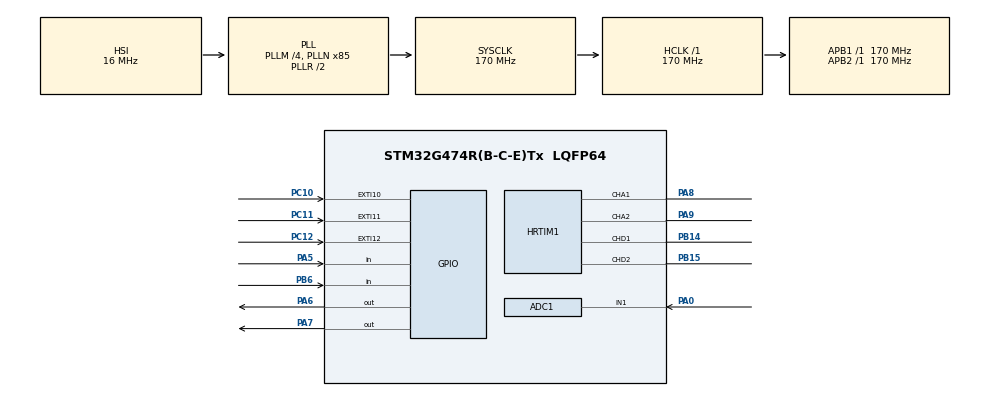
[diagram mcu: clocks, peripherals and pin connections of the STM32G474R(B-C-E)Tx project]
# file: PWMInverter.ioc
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ADC1.Channel-0\#ChannelRegularConversion=ADC_CHANNEL_1
ADC1.NbrOfConversionFlag=1
ADC1.OffsetNumber-0\#ChannelRegularConversion=ADC_OFFSET_NONE
ADC1.Rank-0\#ChannelRegularConversion=1
ADC1.SamplingTime-0\#ChannelRegularConversion=ADC_SAMPLETIME_2CYCLES_5
ADC1.master=1
HRTIM1.CompareUnit1-Output_TA1TA2=HRTIM_COMPAREUNIT_1
HRTIM1.CompareUnit1-Output_TD1TD2=HRTIM_COMPAREUNIT_1
HRTIM1.CompareUnit2-Output_TA1TA2=HRTIM_COMPAREUNIT_2
HRTIM1.CompareUnit2-Output_TD1TD2=HRTIM_COMPAREUNIT_2
HRTIM1.CompareUnit3-Output_TA1TA2=HRTIM_COMPAREUNIT_3
HRTIM1.CompareUnit3-Output_TD1TD2=HRTIM_COMPAREUNIT_3
HRTIM1.CompareUnit4-Output_TA1TA2=__NULL
HRTIM1.CompareValue1-Output_TA1TA2=0x038A-0x0018
HRTIM1.CompareValue1-Output_TD1TD2=0x038a-0x0018
HRTIM1.CompareValue2-Output_TA1TA2=0x038a
HRTIM1.CompareValue2-Output_TD1TD2=0x038a
HRTIM1.CompareValue3-Output_TA1TA2=0x0714-0x0018
HRTIM1.CompareValue3-Output_TD1TD2=0x0715-0x018
HRTIM1.NumberResetSource1-Output_TA1TA2=1
HRTIM1.NumberResetSource1-Output_TD1TD2=1
HRTIM1.NumberResetSource2_TA=1
HRTIM1.NumberResetSource2_TD=1
HRTIM1.NumberResetTrigger-Output_TA1TA2=1
HRTIM1.NumberResetTrigger-Output_TD1TD2=1
HRTIM1.NumberSetSource1-Output_TA1TA2=1
HRTIM1.NumberSetSource1-Output_TD1TD2=1
HRTIM1.NumberSetSource2_TA=1
HRTIM1.NumberSetSource2_TD=1
HRTIM1.NumberUpdateTrigger-Output_TA1TA2=1
HRTIM1.NumberUpdateTrigger-Output_TD1TD2=1
HRTIM1.Periode_MASTER=0x0715
HRTIM1.Periode_TA=0x0715
HRTIM1.Periode_TD=0x0715
HRTIM1.PreloadEnable-Output_TA1TA2=HRTIM_PRELOAD_ENABLED
HRTIM1.PreloadEnable-Output_TD1TD2=HRTIM_PRELOAD_ENABLED
HRTIM1.PushPull-Output_TD1TD2=HRTIM_TIMPUSHPULLMODE_DISABLED
HRTIM1.ReSyncUpdate-Output_TA1TA2=HRTIM_TIMERESYNC_UPDATE_CONDITIONAL
HRTIM1.ReSyncUpdate-Output_TD1TD2=HRTIM_TIMERESYNC_UPDATE_CONDITIONAL
HRTIM1.RepetitionUpdate-Output_TA1TA2=HRTIM_UPDATEONREPETITION_DISABLED
HRTIM1.RepetitionUpdate-Output_TD1TD2=HRTIM_UPDATEONREPETITION_DISABLED
HRTIM1.ResetOutput1_Source1-Output_TA1TA2=HRTIM_OUTPUTRESET_TIMCMP3
HRTIM1.ResetOutput1_Source1-Output_TD1TD2=HRTIM_OUTPUTRESET_TIMCMP1
HRTIM1.ResetOutput2_Source1-Output_TA1TA2=HRTIM_OUTPUTRESET_TIMCMP1
HRTIM1.ResetOutput2_Source1-Output_TD1TD2=HRTIM_OUTPUTRESET_TIMCMP3
HRTIM1.ResetTrigger1-Output_TA1TA2=HRTIM_TIMRESETTRIGGER_MASTER_PER
HRTIM1.ResetTrigger1-Output_TD1TD2=HRTIM_TIMRESETTRIGGER_MASTER_PER
HRTIM1.ResetUpdate-Output_TA1TA2=HRTIM_TIMUPDATEONRESET_ENABLED
HRTIM1.ResetUpdate-Output_TD1TD2=HRTIM_TIMUPDATEONRESET_ENABLED
HRTIM1.SetOutput1_Source1-Output_TA1TA2=HRTIM_OUTPUTSET_TIMCMP2
HRTIM1.SetOutput1_Source1-Output_TD1TD2=HRTIM_OUTPUTSET_TIMPER
HRTIM1.SetOutput2_Source1-Output_TA1TA2=HRTIM_OUTPUTSET_MASTERPER
HRTIM1.SetOutput2_Source1-Output_TD1TD2=HRTIM_OUTPUTSET_TIMCMP2
HRTIM1.SwapA=HRTIM_TIMERSWAP_A
HRTIM1.UpdateTrigger1-Output_TA1TA2=HRTIM_TIMUPDATETRIGGER_MASTER
HRTIM1.UpdateTrigger1-Output_TD1TD2=HRTIM_TIMUPDATETRIGGER_MASTER
Mcu.Family=STM32G4
Mcu.Name=STM32G474R(B-C-E)Tx
Mcu.Package=LQFP64
NUCLEO-G474RE.VCP=true
NVIC.EXTI15_10_IRQn=true\:0\:0\:false\:false\:true\:true\:true\:true
NVIC.PriorityGroup=NVIC_PRIORITYGROUP_4
PA0.Mode=IN1-Single-Ended
PA0.Signal=ADC1_IN1
PA13.GPIO_Label=T_SWDIO
PA13.Signal=SYS_JTMS-SWDIO
PA14.GPIO_Label=T_SWCLK
PA14.Signal=SYS_JTCK-SWCLK
PA2.Signal=LPUART1_TX
PA3.Signal=LPUART1_RX
PA5.Signal=GPIO_Input
PA6.Signal=GPIO_Output
PA7.Signal=GPIO_Output
PA8.Mode=Output_TA1TA2
PA8.Signal=HRTIM1_CHA1
PA9.Mode=Output_TA1TA2
PA9.Signal=HRTIM1_CHA2
PB14.Mode=Output_TD1TD2
PB14.Signal=HRTIM1_CHD1
PB15.Mode=Output_TD1TD2
PB15.Signal=HRTIM1_CHD2
PB3.Signal=SPI3_SCK
PB4.Signal=SPI3_MISO
PB5.Signal=SPI3_MOSI
PB6.Signal=GPIO_Input
PC10.GPIO_ModeDefaultEXTI=GPIO_MODE_IT_RISING_FALLING
PC10.GPIO_PuPd=GPIO_NOPULL
PC10.Signal=GPXTI10
PC11.GPIO_ModeDefaultEXTI=GPIO_MODE_IT_FALLING
PC11.GPIO_PuPd=GPIO_PULLUP
PC11.Signal=GPXTI11
PC12.GPIO_ModeDefaultEXTI=GPIO_MODE_IT_FALLING
PC12.GPIO_PuPd=GPIO_PULLUP
PC12.Signal=GPXTI12
PC14-OSC32_IN.GPIO_Label=RCC_OSC32_IN
PC14-OSC32_IN.Signal=RCC_OSC32_IN
PC15-OSC32_OUT.GPIO_Label=RCC_OSC32_OUT
PC15-OSC32_OUT.Signal=RCC_OSC32_OUT
PF0-OSC_IN.GPIO_Label=RCC_OSC_IN
PF0-OSC_IN.Signal=RCC_OSC_IN
PF1-OSC_OUT.GPIO_Label=RCC_OSC_OUT
PF1-OSC_OUT.Signal=RCC_OSC_OUT
ProjectManager.HeapSize=0x200
ProjectManager.StackSize=0x400
ProjectManager.TargetToolchain=STM32CubeIDE
RCC.ADC12Freq_Value=170000000
RCC.ADC345Freq_Value=170000000
RCC.AHBFreq_Value=170000000
RCC.APB1Freq_Value=170000000
RCC.APB1TimFreq_Value=170000000
RCC.APB2Freq_Value=170000000
RCC.APB2TimFreq_Value=170000000
RCC.CortexFreq_Value=170000000
RCC.EXTERNAL_CLOCK_VALUE=12288000
RCC.HCLKFreq_Value=170000000
RCC.HSE_VALUE=24000000
RCC.HSI48_VALUE=48000000
RCC.HSI_VALUE=16000000
RCC.LSE_VALUE=32768
RCC.PLLM=RCC_PLLM_DIV4
RCC.PLLN=85
RCC.RTCClockSelection=RCC_RTCCLKSOURCE_LSE
RCC.SYSCLKFreq_VALUE=170000000
RCC.SYSCLKSource=RCC_SYSCLKSOURCE_PLLCLK
RCC.USBFreq_Value=170000000
RCC.VCOOutputFreq_Value=340000000
VP_HRTIM1_VS_hrtimMasterTimerNoOutput.Mode=MasterTimer
VP_NUCLEO-G474RE_VS_BSP_COMMON.Mode=COMMON
VP_SYS_VS_DBSignals.Mode=DisableDeadBatterySignals
board=NUCLEO-G474RE

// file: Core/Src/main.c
/* USER CODE BEGIN Header */
/**
  ******************************************************************************
  * @file           : main.c
  * @brief          : Main program body
  ******************************************************************************
  * @attention
  *
  * Copyright (c) 2025 STMicroelectronics.
  * All rights reserved.
  *
  * This software is licensed under terms that can be found in the LICENSE file
  * in the root directory of this software component.
  * If no LICENSE file comes with this software, it is provided AS-IS.
  *
  ******************************************************************************
  */
/* USER CODE END Header */
#include "main.h"

/* USER CODE BEGIN PTD */
typedef enum { false = 0, true = 1 } bool;
/* USER CODE END PTD */

/* USER CODE BEGIN PD */
#define MIN_DEAD_TIME 0x018
#define MAX_DEAD_TIME 0x220
#define DEAD_TIME_STEP 0x006
#define INIT_DEAD_TIME 0x0b4                // 30 ns

#define PERIOD 0x0714
#define HALF_PERIOD 0x038A
/* USER CODE END PD */

COM_InitTypeDef BspCOMInit;
ADC_HandleTypeDef hadc1;

HRTIM_HandleTypeDef hhrtim1;

/* USER CODE BEGIN PV */
int PushButton = 0 ;      				 // indicate in main which button was used
const uint32_t ButtonDebounce = 500;	 // Button debounce constant
uint32_t lastPressTime = 0;				 // Button debounce variable
int DeadTime = 0x018; 				     // 5ns default dead time
float DutyCycle = 0.5f; 			     // 50% duty cycle as default
bool On = false;         				 // Initially PWM is off
uint32_t value_adc;
volatile uint16_t adcBuf[2];             // [0]=Rank1, [1]=Rank2
volatile uint16_t raw1 = 0, raw2 = 0;
volatile float    v1 = 0.0f, v2 = 0.0f;
const float VDDA = 3.3f;                 // ADC VDD
bool protect = false;					 // OVP/OCP
/* USER CODE END PV */

void SystemClock_Config(void);
static void MX_GPIO_Init(void);
static void MX_ADC1_Init(void);
static void MX_HRTIM1_Init(void);
/* USER CODE BEGIN PFP */
void DEC_DEAD_TIME(void);
void INC_DEAD_TIME(void);
void RST_PWM(void);
/* USER CODE END PFP */

int main(void)
{

  /* MCU Configuration--------------------------------------------------------*/

  /* Reset of all peripherals, Initializes the Flash interface and the Systick. */
  HAL_Init();

  /* Configure the system clock */
  SystemClock_Config();

  /* Initialize all configured peripherals */
  MX_GPIO_Init();
  MX_ADC1_Init();
  MX_HRTIM1_Init();

  /* Initialize COM1 port (115200, 8 bits (7-bit data + 1 stop bit), no parity */
  BspCOMInit.BaudRate   = 115200;
  BspCOMInit.WordLength = COM_WORDLENGTH_8B;
  BspCOMInit.StopBits   = COM_STOPBITS_1;
  BspCOMInit.Parity     = COM_PARITY_NONE;
  BspCOMInit.HwFlowCtl  = COM_HWCONTROL_NONE;
  if (BSP_COM_Init(COM1, &BspCOMInit) != BSP_ERROR_NONE)
  {
    Error_Handler();
  }

  /* Infinite loop */
  /* USER CODE BEGIN WHILE */
  while (1)
  {

	  switch (PushButton)
	  {
	  	  case 1:
	  		  //INC_DUTY_CYCLE();
	  		  PushButton = 0;
	  		  break;

	  	  case 2:
	  		  //DEC_DUTY_CYCLE();
	  		  PushButton = 0;
	  		  break;

	  	  case 3:
	  		  INC_DEAD_TIME();
	  		  PushButton = 0;
	  		  break;

	  	  case 4:
	  		  DEC_DEAD_TIME();
	  		  PushButton = 0;
	  		  break;

	  	  case 5:
	  		  if (On == true){
	  			  /* Enable HRTIM's outputs TA1 and start Timer A */
	  			  RST_PWM();
	  			  //HRTIM1->sTimerxRegs[HRTIM_TIMERINDEX_TIMER_A].CNTxR = 0;   // Reset counter
	  			  HAL_HRTIM_WaveformCounterStart(&hhrtim1, HRTIM_TIMERID_TIMER_A | HRTIM_TIMERID_TIMER_D);  // Start the counter of the Timer A operating in waveform mode
	  			  HAL_HRTIM_WaveformCounterStart(&hhrtim1, HRTIM_TIMERID_MASTER);   						// start master timer
 	  		   	  HAL_HRTIM_WaveformOutputStart(&hhrtim1, HRTIM_OUTPUT_TA1 | HRTIM_OUTPUT_TA2 | HRTIM_OUTPUT_TD1 | HRTIM_OUTPUT_TD2);  // Enable the generation of the waveform signal on the designated output

	  		  }
	  		  else if (On == false){
	  		    // Turn OFF PWM and reset

	  		    HAL_HRTIM_WaveformOutputStop(&hhrtim1, HRTIM_OUTPUT_TA1 | HRTIM_OUTPUT_TA2| HRTIM_OUTPUT_TD1 | HRTIM_OUTPUT_TD2);

	  		  }
	  		  PushButton = 0;
	  		  break;
	  }
	  if  (PushButton != 0 && PushButton != 1 && PushButton != 2 && PushButton != 3 && PushButton != 4 && PushButton != 5)
	  {
		  printf("PushButton does not match any case");
		  PushButton = 0;
	  }
  }

    /* USER CODE END WHILE */

}

void SystemClock_Config(void)
{
  RCC_OscInitTypeDef RCC_OscInitStruct = {0};
  RCC_ClkInitTypeDef RCC_ClkInitStruct = {0};

  /** Configure the main internal regulator output voltage
  */
  HAL_PWREx_ControlVoltageScaling(PWR_REGULATOR_VOLTAGE_SCALE1_BOOST);

  /** Initializes the RCC Oscillators according to the specified parameters
  * in the RCC_OscInitTypeDef structure.
  */
  RCC_OscInitStruct.OscillatorType = RCC_OSCILLATORTYPE_HSI;
  RCC_OscInitStruct.HSIState = RCC_HSI_ON;
  RCC_OscInitStruct.HSICalibrationValue = RCC_HSICALIBRATION_DEFAULT;
  RCC_OscInitStruct.PLL.PLLState = RCC_PLL_ON;
  RCC_OscInitStruct.PLL.PLLSource = RCC_PLLSOURCE_HSI;
  RCC_OscInitStruct.PLL.PLLM = RCC_PLLM_DIV4;
  RCC_OscInitStruct.PLL.PLLN = 85;
  RCC_OscInitStruct.PLL.PLLP = RCC_PLLP_DIV2;
  RCC_OscInitStruct.PLL.PLLQ = RCC_PLLQ_DIV2;
  RCC_OscInitStruct.PLL.PLLR = RCC_PLLR_DIV2;
  if (HAL_RCC_OscConfig(&RCC_OscInitStruct) != HAL_OK)
  {
    Error_Handler();
  }

  /** Initializes the CPU, AHB and APB buses clocks
  */
  RCC_ClkInitStruct.ClockType = RCC_CLOCKTYPE_HCLK|RCC_CLOCKTYPE_SYSCLK
                              |RCC_CLOCKTYPE_PCLK1|RCC_CLOCKTYPE_PCLK2;
  RCC_ClkInitStruct.SYSCLKSource = RCC_SYSCLKSOURCE_PLLCLK;
  RCC_ClkInitStruct.AHBCLKDivider = RCC_SYSCLK_DIV1;
  RCC_ClkInitStruct.APB1CLKDivider = RCC_HCLK_DIV1;
  RCC_ClkInitStruct.APB2CLKDivider = RCC_HCLK_DIV1;

  if (HAL_RCC_ClockConfig(&RCC_ClkInitStruct, FLASH_LATENCY_4) != HAL_OK)
  {
    Error_Handler();
  }
}

static void MX_ADC1_Init(void)
{

  ADC_MultiModeTypeDef multimode = {0};
  ADC_ChannelConfTypeDef sConfig = {0};

  /** Common config
  */
  hadc1.Instance = ADC1;
  hadc1.Init.ClockPrescaler = ADC_CLOCK_SYNC_PCLK_DIV4;
  hadc1.Init.Resolution = ADC_RESOLUTION_12B;
  hadc1.Init.DataAlign = ADC_DATAALIGN_RIGHT;
  hadc1.Init.GainCompensation = 0;
  hadc1.Init.ScanConvMode = ADC_SCAN_DISABLE;
  hadc1.Init.EOCSelection = ADC_EOC_SINGLE_CONV;
  hadc1.Init.LowPowerAutoWait = DISABLE;
  hadc1.Init.ContinuousConvMode = DISABLE;
  hadc1.Init.NbrOfConversion = 1;
  hadc1.Init.DiscontinuousConvMode = DISABLE;
  hadc1.Init.ExternalTrigConv = ADC_SOFTWARE_START;
  hadc1.Init.ExternalTrigConvEdge = ADC_EXTERNALTRIGCONVEDGE_NONE;
  hadc1.Init.DMAContinuousRequests = DISABLE;
  hadc1.Init.Overrun = ADC_OVR_DATA_PRESERVED;
  hadc1.Init.OversamplingMode = DISABLE;
  if (HAL_ADC_Init(&hadc1) != HAL_OK)
  {
    Error_Handler();
  }

  /** Configure the ADC multi-mode
  */
  multimode.Mode = ADC_MODE_INDEPENDENT;
  if (HAL_ADCEx_MultiModeConfigChannel(&hadc1, &multimode) != HAL_OK)
  {
    Error_Handler();
  }

  /** Configure Regular Channel
  */
  sConfig.Channel = ADC_CHANNEL_1;
  sConfig.Rank = ADC_REGULAR_RANK_1;
  sConfig.SamplingTime = ADC_SAMPLETIME_2CYCLES_5;
  sConfig.SingleDiff = ADC_SINGLE_ENDED;
  sConfig.OffsetNumber = ADC_OFFSET_NONE;
  sConfig.Offset = 0;
  if (HAL_ADC_ConfigChannel(&hadc1, &sConfig) != HAL_OK)
  {
    Error_Handler();
  }

}

static void MX_HRTIM1_Init(void)
{

  HRTIM_TimeBaseCfgTypeDef pTimeBaseCfg = {0};
  HRTIM_TimerCfgTypeDef pTimerCfg = {0};
  HRTIM_TimerCtlTypeDef pTimerCtl = {0};
  HRTIM_CompareCfgTypeDef pCompareCfg = {0};
  HRTIM_OutputCfgTypeDef pOutputCfg = {0};

  hhrtim1.Instance = HRTIM1;
  hhrtim1.Init.HRTIMInterruptResquests = HRTIM_IT_NONE;
  hhrtim1.Init.SyncOptions = HRTIM_SYNCOPTION_NONE;
  if (HAL_HRTIM_Init(&hhrtim1) != HAL_OK)
  {
    Error_Handler();
  }
  if (HAL_HRTIM_DLLCalibrationStart(&hhrtim1, HRTIM_CALIBRATIONRATE_3) != HAL_OK)
  {
    Error_Handler();
  }
  if (HAL_HRTIM_PollForDLLCalibration(&hhrtim1, 10) != HAL_OK)
  {
    Error_Handler();
  }
  pTimeBaseCfg.Period = 0x0715;
  pTimeBaseCfg.RepetitionCounter = 0x00;
  pTimeBaseCfg.PrescalerRatio = HRTIM_PRESCALERRATIO_MUL32;
  pTimeBaseCfg.Mode = HRTIM_MODE_CONTINUOUS;
  if (HAL_HRTIM_TimeBaseConfig(&hhrtim1, HRTIM_TIMERINDEX_MASTER, &pTimeBaseCfg) != HAL_OK)
  {
    Error_Handler();
  }
  pTimerCfg.InterruptRequests = HRTIM_MASTER_IT_NONE;
  pTimerCfg.DMARequests = HRTIM_MASTER_DMA_NONE;
  pTimerCfg.DMASrcAddress = 0x0000;
  pTimerCfg.DMADstAddress = 0x0000;
  pTimerCfg.DMASize = 0x1;
  pTimerCfg.HalfModeEnable = HRTIM_HALFMODE_DISABLED;
  pTimerCfg.InterleavedMode = HRTIM_INTERLEAVED_MODE_DISABLED;
  pTimerCfg.StartOnSync = HRTIM_SYNCSTART_DISABLED;
  pTimerCfg.ResetOnSync = HRTIM_SYNCRESET_DISABLED;
  pTimerCfg.DACSynchro = HRTIM_DACSYNC_NONE;
  pTimerCfg.PreloadEnable = HRTIM_PRELOAD_DISABLED;
  pTimerCfg.UpdateGating = HRTIM_UPDATEGATING_INDEPENDENT;
  pTimerCfg.BurstMode = HRTIM_TIMERBURSTMODE_MAINTAINCLOCK;
  pTimerCfg.RepetitionUpdate = HRTIM_UPDATEONREPETITION_DISABLED;
  pTimerCfg.ReSyncUpdate = HRTIM_TIMERESYNC_UPDATE_UNCONDITIONAL;
  if (HAL_HRTIM_WaveformTimerConfig(&hhrtim1, HRTIM_TIMERINDEX_MASTER, &pTimerCfg) != HAL_OK)
  {
    Error_Handler();
  }
  if (HAL_HRTIM_TimeBaseConfig(&hhrtim1, HRTIM_TIMERINDEX_TIMER_A, &pTimeBaseCfg) != HAL_OK)
  {
    Error_Handler();
  }
  pTimerCtl.UpDownMode = HRTIM_TIMERUPDOWNMODE_UP;
  pTimerCtl.TrigHalf = HRTIM_TIMERTRIGHALF_DISABLED;
  pTimerCtl.GreaterCMP3 = HRTIM_TIMERGTCMP3_EQUAL;
  pTimerCtl.GreaterCMP1 = HRTIM_TIMERGTCMP1_EQUAL;
  pTimerCtl.DualChannelDacEnable = HRTIM_TIMER_DCDE_DISABLED;
  if (HAL_HRTIM_WaveformTimerControl(&hhrtim1, HRTIM_TIMERINDEX_TIMER_A, &pTimerCtl) != HAL_OK)
  {
    Error_Handler();
  }
  pTimerCfg.InterruptRequests = HRTIM_TIM_IT_NONE;
  pTimerCfg.DMARequests = HRTIM_TIM_DMA_NONE;
  pTimerCfg.PreloadEnable = HRTIM_PRELOAD_ENABLED;
  pTimerCfg.PushPull = HRTIM_TIMPUSHPULLMODE_DISABLED;
  pTimerCfg.FaultEnable = HRTIM_TIMFAULTENABLE_NONE;
  pTimerCfg.FaultLock = HRTIM_TIMFAULTLOCK_READWRITE;
  pTimerCfg.DeadTimeInsertion = HRTIM_TIMDEADTIMEINSERTION_DISABLED;
  pTimerCfg.DelayedProtectionMode = HRTIM_TIMER_A_B_C_DELAYEDPROTECTION_DISABLED;
  pTimerCfg.UpdateTrigger = HRTIM_TIMUPDATETRIGGER_MASTER;
  pTimerCfg.ResetTrigger = HRTIM_TIMRESETTRIGGER_MASTER_PER;
  pTimerCfg.ResetUpdate = HRTIM_TIMUPDATEONRESET_ENABLED;
  pTimerCfg.ReSyncUpdate = HRTIM_TIMERESYNC_UPDATE_CONDITIONAL;
  if (HAL_HRTIM_WaveformTimerConfig(&hhrtim1, HRTIM_TIMERINDEX_TIMER_A, &pTimerCfg) != HAL_OK)
  {
    Error_Handler();
  }
  pTimerCfg.DelayedProtectionMode = HRTIM_TIMER_D_E_DELAYEDPROTECTION_DISABLED;
  if (HAL_HRTIM_WaveformTimerConfig(&hhrtim1, HRTIM_TIMERINDEX_TIMER_D, &pTimerCfg) != HAL_OK)
  {
    Error_Handler();
  }
  pCompareCfg.CompareValue = 0x038A-0x0018;
  if (HAL_HRTIM_WaveformCompareConfig(&hhrtim1, HRTIM_TIMERINDEX_TIMER_A, HRTIM_COMPAREUNIT_1, &pCompareCfg) != HAL_OK)
  {
    Error_Handler();
  }
  pCompareCfg.CompareValue = 0x038a;
  pCompareCfg.AutoDelayedMode = HRTIM_AUTODELAYEDMODE_REGULAR;
  pCompareCfg.AutoDelayedTimeout = 0x0000;

  if (HAL_HRTIM_WaveformCompareConfig(&hhrtim1, HRTIM_TIMERINDEX_TIMER_A, HRTIM_COMPAREUNIT_2, &pCompareCfg) != HAL_OK)
  {
    Error_Handler();
  }
  pCompareCfg.CompareValue = 0x0714-0x0018;
  if (HAL_HRTIM_WaveformCompareConfig(&hhrtim1, HRTIM_TIMERINDEX_TIMER_A, HRTIM_COMPAREUNIT_3, &pCompareCfg) != HAL_OK)
  {
    Error_Handler();
  }
  if (HAL_HRTIM_SwapTimerOutput(&hhrtim1, HRTIM_TIMERSWAP_A) != HAL_OK)
  {
    Error_Handler();
  }
  pOutputCfg.Polarity = HRTIM_OUTPUTPOLARITY_HIGH;
  pOutputCfg.SetSource = HRTIM_OUTPUTSET_TIMCMP2;
  pOutputCfg.ResetSource = HRTIM_OUTPUTRESET_TIMCMP3;
  pOutputCfg.IdleMode = HRTIM_OUTPUTIDLEMODE_NONE;
  pOutputCfg.IdleLevel = HRTIM_OUTPUTIDLELEVEL_INACTIVE;
  pOutputCfg.FaultLevel = HRTIM_OUTPUTFAULTLEVEL_NONE;
  pOutputCfg.ChopperModeEnable = HRTIM_OUTPUTCHOPPERMODE_DISABLED;
  pOutputCfg.BurstModeEntryDelayed = HRTIM_OUTPUTBURSTMODEENTRY_REGULAR;
  if (HAL_HRTIM_WaveformOutputConfig(&hhrtim1, HRTIM_TIMERINDEX_TIMER_A, HRTIM_OUTPUT_TA1, &pOutputCfg) != HAL_OK)
  {
    Error_Handler();
  }
  pOutputCfg.SetSource = HRTIM_OUTPUTSET_TIMPER;
  pOutputCfg.ResetSource = HRTIM_OUTPUTRESET_TIMCMP1;
  if (HAL_HRTIM_WaveformOutputConfig(&hhrtim1, HRTIM_TIMERINDEX_TIMER_D, HRTIM_OUTPUT_TD1, &pOutputCfg) != HAL_OK)
  {
    Error_Handler();
  }
  pOutputCfg.SetSource = HRTIM_OUTPUTSET_MASTERPER;
  if (HAL_HRTIM_WaveformOutputConfig(&hhrtim1, HRTIM_TIMERINDEX_TIMER_A, HRTIM_OUTPUT_TA2, &pOutputCfg) != HAL_OK)
  {
    Error_Handler();
  }
  pOutputCfg.SetSource = HRTIM_OUTPUTSET_TIMCMP2;
  pOutputCfg.ResetSource = HRTIM_OUTPUTRESET_TIMCMP3;
  if (HAL_HRTIM_WaveformOutputConfig(&hhrtim1, HRTIM_TIMERINDEX_TIMER_D, HRTIM_OUTPUT_TD2, &pOutputCfg) != HAL_OK)
  {
    Error_Handler();
  }
  if (HAL_HRTIM_TimeBaseConfig(&hhrtim1, HRTIM_TIMERINDEX_TIMER_D, &pTimeBaseCfg) != HAL_OK)
  {
    Error_Handler();
  }
  if (HAL_HRTIM_WaveformTimerControl(&hhrtim1, HRTIM_TIMERINDEX_TIMER_D, &pTimerCtl) != HAL_OK)
  {
    Error_Handler();
  }
  pCompareCfg.CompareValue = 0x038a-0x0018;
  if (HAL_HRTIM_WaveformCompareConfig(&hhrtim1, HRTIM_TIMERINDEX_TIMER_D, HRTIM_COMPAREUNIT_1, &pCompareCfg) != HAL_OK)
  {
    Error_Handler();
  }
  pCompareCfg.CompareValue = 0x038a;

  if (HAL_HRTIM_WaveformCompareConfig(&hhrtim1, HRTIM_TIMERINDEX_TIMER_D, HRTIM_COMPAREUNIT_2, &pCompareCfg) != HAL_OK)
  {
    Error_Handler();
  }
  pCompareCfg.CompareValue = 0x0715-0x018;
  if (HAL_HRTIM_WaveformCompareConfig(&hhrtim1, HRTIM_TIMERINDEX_TIMER_D, HRTIM_COMPAREUNIT_3, &pCompareCfg) != HAL_OK)
  {
    Error_Handler();
  }
  HAL_HRTIM_MspPostInit(&hhrtim1);

}

static void MX_GPIO_Init(void)
{
  GPIO_InitTypeDef GPIO_InitStruct = {0};

  /* GPIO Ports Clock Enable */
  __HAL_RCC_GPIOC_CLK_ENABLE();
  __HAL_RCC_GPIOF_CLK_ENABLE();
  __HAL_RCC_GPIOA_CLK_ENABLE();
  __HAL_RCC_GPIOB_CLK_ENABLE();

  /*Configure GPIO pin Output Level */
  HAL_GPIO_WritePin(GPIOA, GPIO_PIN_6|GPIO_PIN_7, GPIO_PIN_RESET);

  /*Configure GPIO pin : PA5 */
  GPIO_InitStruct.Pin = GPIO_PIN_5;
  GPIO_InitStruct.Mode = GPIO_MODE_INPUT;
  GPIO_InitStruct.Pull = GPIO_NOPULL;
  HAL_GPIO_Init(GPIOA, &GPIO_InitStruct);

  /*Configure GPIO pins : PA6 PA7 */
  GPIO_InitStruct.Pin = GPIO_PIN_6|GPIO_PIN_7;
  GPIO_InitStruct.Mode = GPIO_MODE_OUTPUT_PP;
  GPIO_InitStruct.Pull = GPIO_NOPULL;
  GPIO_InitStruct.Speed = GPIO_SPEED_FREQ_LOW;
  HAL_GPIO_Init(GPIOA, &GPIO_InitStruct);

  /*Configure GPIO pin : PC10 */
  GPIO_InitStruct.Pin = GPIO_PIN_10;
  GPIO_InitStruct.Mode = GPIO_MODE_IT_RISING_FALLING;
  GPIO_InitStruct.Pull = GPIO_NOPULL;
  HAL_GPIO_Init(GPIOC, &GPIO_InitStruct);

  /*Configure GPIO pins : PC11 PC12 */
  GPIO_InitStruct.Pin = GPIO_PIN_11|GPIO_PIN_12;
  GPIO_InitStruct.Mode = GPIO_MODE_IT_FALLING;
  GPIO_InitStruct.Pull = GPIO_PULLUP;
  HAL_GPIO_Init(GPIOC, &GPIO_InitStruct);

  /*Configure GPIO pins : PB3 PB4 PB5 */
  GPIO_InitStruct.Pin = GPIO_PIN_3|GPIO_PIN_4|GPIO_PIN_5;
  GPIO_InitStruct.Mode = GPIO_MODE_AF_PP;
  GPIO_InitStruct.Pull = GPIO_NOPULL;
  GPIO_InitStruct.Speed = GPIO_SPEED_FREQ_LOW;
  GPIO_InitStruct.Alternate = GPIO_AF6_SPI3;
  HAL_GPIO_Init(GPIOB, &GPIO_InitStruct);

  /*Configure GPIO pin : PB6 */
  GPIO_InitStruct.Pin = GPIO_PIN_6;
  GPIO_InitStruct.Mode = GPIO_MODE_INPUT;
  GPIO_InitStruct.Pull = GPIO_NOPULL;
  HAL_GPIO_Init(GPIOB, &GPIO_InitStruct);

  /* EXTI interrupt init*/
  HAL_NVIC_SetPriority(EXTI15_10_IRQn, 0, 0);
  HAL_NVIC_EnableIRQ(EXTI15_10_IRQn);

}

/* USER CODE BEGIN 4 */

/**********************BUTTON INTERRUPTS******************************/

void HAL_GPIO_EXTI_Callback(uint16_t GPIO_Pin)
{
    uint32_t currentTime = HAL_GetTick();  // milliseconds since startup

    if ((currentTime - lastPressTime) > ButtonDebounce)
    {
        lastPressTime = currentTime;

    	if(GPIO_Pin == GPIO_PIN_10) {
    		GPIO_PinState level = HAL_GPIO_ReadPin(GPIOC, GPIO_PIN_10);
    		if (level == GPIO_PIN_RESET){
    		        		On = true;
    		    		}
    		    		else {
    		    			On = false;
    		    		}
    		PushButton = 5;
    	}
    	else if (GPIO_Pin == GPIO_PIN_11) {
    		PushButton = 3;
    	}
    	else if (GPIO_Pin == GPIO_PIN_12) {
    		PushButton = 4;
    	}
    	else {
    	  __NOP();
    	}
    }

}

void INC_DEAD_TIME(void)
{
	if (DeadTime >= MIN_DEAD_TIME && DeadTime < (MAX_DEAD_TIME - DEAD_TIME_STEP))
	{
		DeadTime = DeadTime + DEAD_TIME_STEP;
		__HAL_HRTIM_SETCOMPARE(&hhrtim1, HRTIM_TIMERINDEX_TIMER_A, HRTIM_COMPAREUNIT_1, PERIOD*DutyCycle - DeadTime);
		__HAL_HRTIM_SETCOMPARE(&hhrtim1, HRTIM_TIMERINDEX_TIMER_A, HRTIM_COMPAREUNIT_3, PERIOD - DeadTime);
		__HAL_HRTIM_SETCOMPARE(&hhrtim1, HRTIM_TIMERINDEX_TIMER_D, HRTIM_COMPAREUNIT_1, PERIOD*DutyCycle - DeadTime);
		__HAL_HRTIM_SETCOMPARE(&hhrtim1, HRTIM_TIMERINDEX_TIMER_D, HRTIM_COMPAREUNIT_3, PERIOD - DeadTime);
		//__HAL_HRTIM_SETCOMPARE(&hhrtim1, HRTIM_TIMERINDEX_TIMER_A, HRTIM_COMPAREUNIT_4, PERIOD - DeadTime - 0x01f4);
	}
	else  {
		printf("max dead time reached");
	}
}

void DEC_DEAD_TIME(void)
{
	if (DeadTime >= (MIN_DEAD_TIME + DEAD_TIME_STEP) && DeadTime <= MAX_DEAD_TIME)
	{
		DeadTime = DeadTime - DEAD_TIME_STEP;
		__HAL_HRTIM_SETCOMPARE(&hhrtim1, HRTIM_TIMERINDEX_TIMER_A, HRTIM_COMPAREUNIT_1, PERIOD*DutyCycle - DeadTime);
		__HAL_HRTIM_SETCOMPARE(&hhrtim1, HRTIM_TIMERINDEX_TIMER_A, HRTIM_COMPAREUNIT_3, PERIOD - DeadTime);
		__HAL_HRTIM_SETCOMPARE(&hhrtim1, HRTIM_TIMERINDEX_TIMER_D, HRTIM_COMPAREUNIT_1, PERIOD*DutyCycle - DeadTime);
		__HAL_HRTIM_SETCOMPARE(&hhrtim1, HRTIM_TIMERINDEX_TIMER_D, HRTIM_COMPAREUNIT_3, PERIOD - DeadTime);
		//__HAL_HRTIM_SETCOMPARE(&hhrtim1, HRTIM_TIMERINDEX_TIMER_A, HRTIM_COMPAREUNIT_4, PERIOD - DeadTime - 0x01f4);
	}
	else  {
		printf("min dead time reached");
	}
}

void RST_PWM(void)
{
	DeadTime = INIT_DEAD_TIME;
	HAL_HRTIM_WaveformCounterStop(&hhrtim1, HRTIM_TIMERID_TIMER_A | HRTIM_TIMERID_TIMER_D);
	HAL_HRTIM_SoftwareReset(&hhrtim1, HRTIM_TIMERID_TIMER_A | HRTIM_TIMERID_TIMER_D);

	__HAL_HRTIM_SETCOMPARE(&hhrtim1, HRTIM_TIMERINDEX_TIMER_A, HRTIM_COMPAREUNIT_1, HALF_PERIOD - DeadTime);
	__HAL_HRTIM_SETCOMPARE(&hhrtim1, HRTIM_TIMERINDEX_TIMER_A, HRTIM_COMPAREUNIT_2, HALF_PERIOD);
	__HAL_HRTIM_SETCOMPARE(&hhrtim1, HRTIM_TIMERINDEX_TIMER_A, HRTIM_COMPAREUNIT_3, PERIOD - DeadTime);
	__HAL_HRTIM_SETCOMPARE(&hhrtim1, HRTIM_TIMERINDEX_TIMER_D, HRTIM_COMPAREUNIT_1, HALF_PERIOD - DeadTime);
	__HAL_HRTIM_SETCOMPARE(&hhrtim1, HRTIM_TIMERINDEX_TIMER_D, HRTIM_COMPAREUNIT_2, HALF_PERIOD);
	__HAL_HRTIM_SETCOMPARE(&hhrtim1, HRTIM_TIMERINDEX_TIMER_D, HRTIM_COMPAREUNIT_3, PERIOD - DeadTime);

}

/* USER CODE END 4 */

void Error_Handler(void)
{
  __disable_irq();
  while (1)
  {
  }
}
